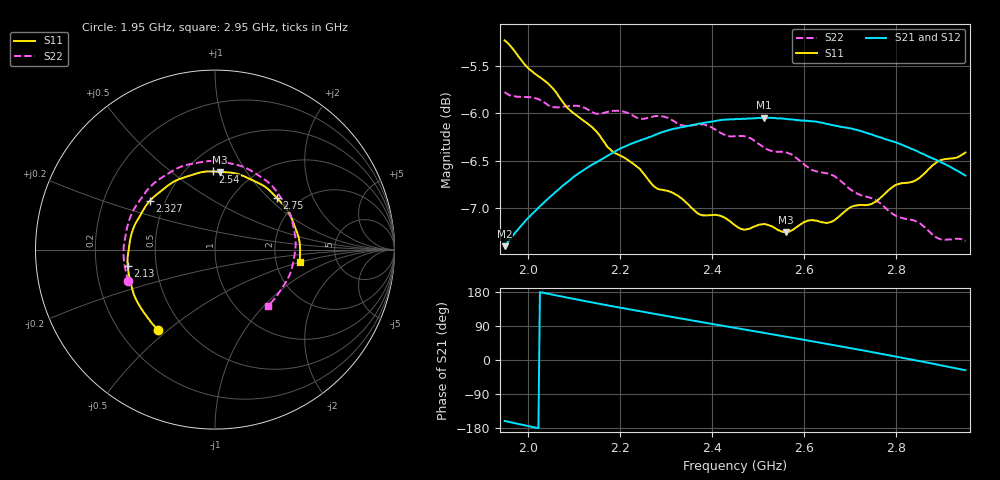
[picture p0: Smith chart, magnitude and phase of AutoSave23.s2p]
!Agilent N9923A: A.07.32
!Date: Wednesday, 01 June 2016 22:54:42
!Model: N9923A
!Serial: MY52412257
!GPS Latitude:
!GPS Longitude:
!GPS TimeStamp: 0001-01-01 00:00:00Z
!GPS Seconds Since Last Read: 0
!CHECKSUM:0459127119
!Correction: S11(ON U)S21(ON U)S12(ON U)S22(ON U)
!S2P File: Measurements:S11,S21,S12,S22:
# Hz S DB R 50
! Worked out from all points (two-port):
!   301 points, 1.95 GHz to 2.95 GHz, reference 50 ohm
!   highest |S21| = -6.05 dB at 2.513 GHz (marker M1); lowest = -7.4 dB at 1.95 GHz (marker M2)
!   |S21| within 3 dB of the highest: start of sweep to end of sweep
!   lowest |S11| = -7.3 dB at 2.56 GHz (marker M3), VSWR 2.53, Z = 35.8 + j38.2 ohm
!   |S11| at or under -10 dB: nowhere
!   |S22| runs from -7.3 to -5.8 dB; largest |S21 - S12| = 0.00083
!   S11 on the Smith chart (normalised r, x): 1.95 GHz: 0.36, -0.46; 2.13 GHz: 0.34, -0.08; 2.327 GHz: 0.41, +0.28; 2.54 GHz: 0.67, +0.72; 2.75 GHz: 1.56, +1.13; 2.95 GHz: 2.73, -0.49
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1.95e9  -5.23 -125.4  -7.40 -160.7  -7.40 -160.6  -5.78 -159.8
1.99e9  -5.47 -135.2  -7.16 -171.4  -7.17 -171.4  -5.83 -171.4
2.026667e9  -5.62 -144.4  -6.98 179.2  -6.98 179.3  -5.86 178.8
2.076667e9  -5.88 -156.3  -6.76 166.8  -6.76 166.8  -5.93 165.1
2.12e9  -6.08 -167.0  -6.60 156.5  -6.61 156.6  -5.94 154.2
2.13e9  -6.11 -169.4  -6.57 154.2  -6.57 154.2  -5.96 151.7
2.176667e9  -6.37 179.5  -6.44 143.4  -6.44 143.5  -5.98 139.7
2.216667e9  -6.49 169.7  -6.34 134.6  -6.34 134.6  -6.00 130.4
2.286667e9  -6.80 152.8  -6.21 119.3  -6.21 119.3  -6.03 113.6
2.326667e9  -6.87 143.3  -6.16 110.8  -6.16 110.8  -6.11 104.5
2.383333e9  -7.07 129.4  -6.10 98.7  -6.10 98.8  -6.12 91.4
2.453333e9  -7.19 112.6  -6.06 84.0  -6.07 84.1  -6.24 75.4
2.513333e9  -7.17 97.8  -6.05 71.5  -6.05 71.5  -6.36 62.2
2.54e9  -7.22 91.5  -6.05 65.9  -6.06 65.9  -6.41 55.8
2.56e9  -7.25 86.4  -6.06 61.6  -6.06 61.6  -6.41 51.2
2.62e9  -7.13 71.9  -6.09 48.9  -6.09 48.9  -6.60 37.5
2.673333e9  -7.10 58.4  -6.14 37.3  -6.14 37.3  -6.69 25.0
2.75e9  -6.95 40.0  -6.23 20.3  -6.23 20.4  -6.90 6.1
2.783333e9  -6.81 31.7  -6.28 12.8  -6.28 12.8  -7.03 -2.1
2.853333e9  -6.67 14.9  -6.42 -3.4  -6.42 -3.4  -7.17 -20.3
2.896667e9  -6.49 4.6  -6.52 -13.9  -6.52 -13.8  -7.33 -32.3
2.95e9  -6.41 -8.4  -6.66 -27.0  -6.66 -26.9  -7.35 -46.8
